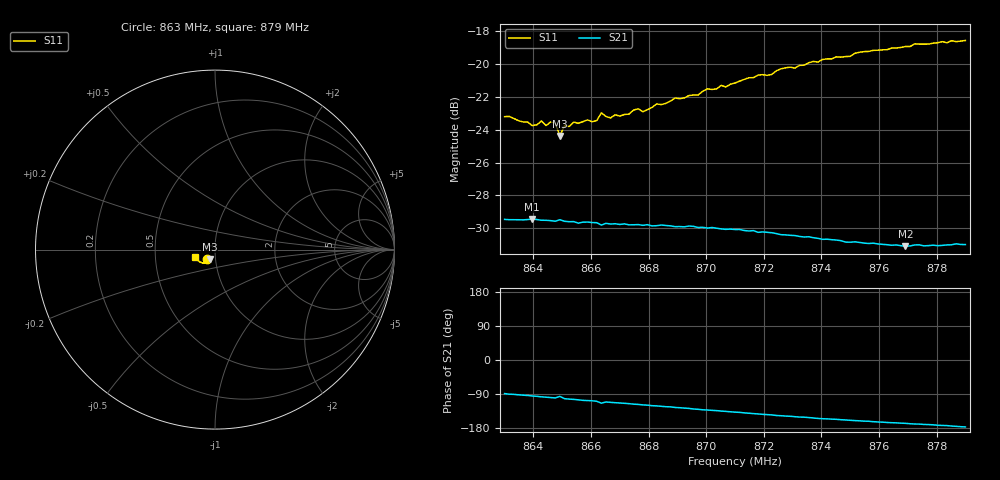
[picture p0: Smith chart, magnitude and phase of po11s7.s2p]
# HZ S RI R 50
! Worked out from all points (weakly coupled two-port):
!   101 points, 863 MHz to 879 MHz, reference 50 ohm
!   highest |S21| = -29.45 dB at 863.96 MHz (marker M1); lowest = -31.1 dB at 876.92 MHz (marker M2)
!   lowest |S11| = -24.4 dB at 864.92 MHz (marker M3), VSWR 1.13, Z = 46.9 - j4.97 ohm
!   |S11| at or under -10 dB: start of sweep to end of sweep
!   S12 and S22 are empty: the file has one direction only
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8.63e8  -0.0443 -0.0531  0.000848 -0.0336  0 0  0 0
8.6396e8  -0.0391 -0.0519  -0.00286 -0.0336  0 0  0 0
8.6428e8  -0.0383 -0.0551  -0.0042 -0.0332  0 0  0 0
8.6444e8  -0.0375 -0.053  -0.00471 -0.0331  0 0  0 0
8.646e8  -0.0375 -0.0551  -0.0053 -0.0329  0 0  0 0
8.6476e8  -0.0375 -0.0544  -0.00579 -0.0327  0 0  0 0
8.6492e8  -0.0293 -0.0528  -0.00355 -0.0334  0 0  0 0
8.6508e8  -0.0346 -0.0551  -0.00693 -0.0325  0 0  0 0
8.6572e8  -0.035 -0.0569  -0.00935 -0.0316  0 0  0 0
8.662e8  -0.0343 -0.0579  -0.0107 -0.0311  0 0  0 0
8.6636e8  -0.0399 -0.0588  -0.0131 -0.0295  0 0  0 0
8.6668e8  -0.034 -0.0595  -0.0121 -0.0302  0 0  0 0
8.678e8  -0.0348 -0.0626  -0.0154 -0.0284  0 0  0 0
8.6844e8  -0.0363 -0.0659  -0.0172 -0.0274  0 0  0 0
8.6892e8  -0.038 -0.0691  -0.0185 -0.0261  0 0  0 0
8.6972e8  -0.0404 -0.0697  -0.0205 -0.0243  0 0  0 0
8.7004e8  -0.0426 -0.0725  -0.0212 -0.0235  0 0  0 0
8.71e8  -0.0477 -0.0735  -0.0231 -0.0211  0 0  0 0
8.7372e8  -0.0682 -0.0758  -0.0263 -0.0134  0 0  0 0
8.7644e8  -0.0927 -0.0627  -0.0272 -0.00703  0 0  0 0
8.7692e8  -0.097 -0.0584  -0.0272 -0.0062  0 0  0 0
8.79e8  -0.1116 -0.0386  -0.0281 -0.00166  0 0  0 0
